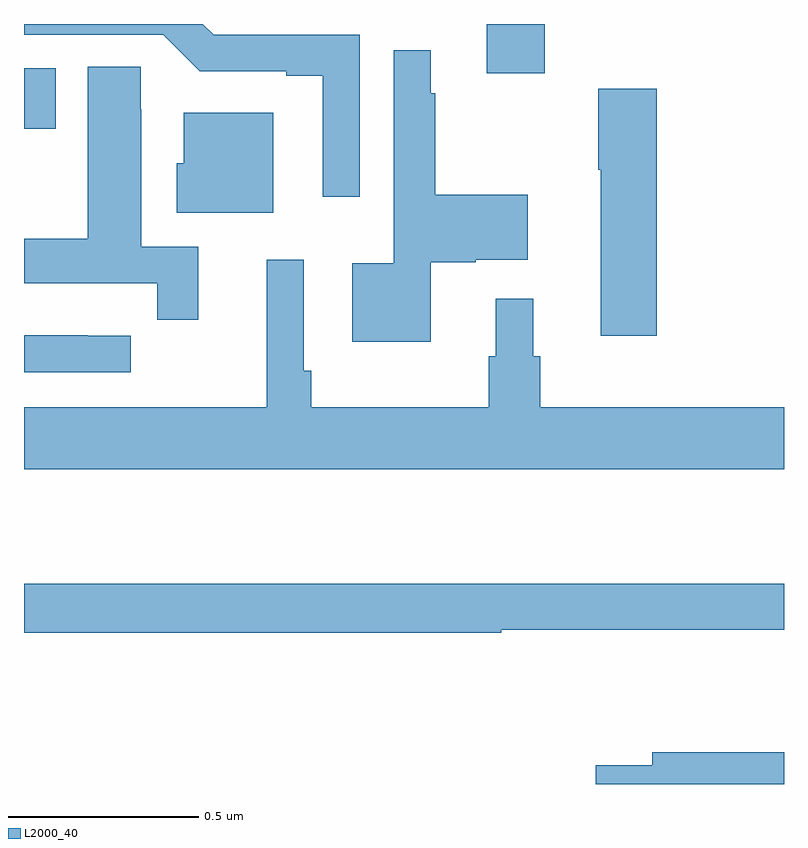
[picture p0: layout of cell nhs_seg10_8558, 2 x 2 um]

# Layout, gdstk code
import gdstk
lib = gdstk.Library(unit=1e-6, precision=1e-09)
def R(c, l, rs):  # rectangles x0, y0, x1, y1
    for r in rs: c.add(gdstk.rectangle(r[:2], r[2:], *l))
def P(c, l, *ps):  # polygons
    for p in ps: c.add(gdstk.Polygon(p, *l))
L2000_40 = (2000, 40)

nhs_seg10_8558 = lib.new_cell('nhs_seg10_8558')
R(nhs_seg10_8558, L2000_40, [(218,1289.224,218.083,1289.383), (219.218,1289.37,219.371,1289.5)])
P(nhs_seg10_8558, L2000_40, [(218.883,1289.472),(218.499,1289.472),(218.471,1289.5),(218,1289.5),(218,1289.472),(218.367,1289.472),(218.463,1289.376),(218.69,1289.376),(218.69,1289.364),(218.786,1289.364),(218.786,1289.046),(218.883,1289.046)],
  [(219.07,1288.873),(219.189,1288.873),(219.189,1288.88),(219.325,1288.88),(219.325,1289.051),(219.082,1289.051),(219.082,1289.318),(219.07,1289.318),(219.07,1289.431),(218.973,1289.431),(218.973,1288.87),(218.864,1288.87),(218.864,1288.664),(219.07,1288.664)],
  [(218.459,1288.914),(218.308,1288.914),(218.308,1289.276),(218.307,1289.276),(218.307,1289.387),(218.168,1289.387),(218.168,1288.935),(218,1288.935),(218,1288.818),(218.35,1288.818),(218.35,1288.722),(218.459,1288.722)],
  [(219.665,1289.329),(219.511,1289.329),(219.511,1289.116),(219.518,1289.116),(219.518,1288.68),(219.665,1288.68)],
  [(218.656,1289.266),(218.42,1289.266),(218.42,1289.133),(218.402,1289.133),(218.402,1289.003),(218.656,1289.003)],
  [(220,1288.492),(219.359,1288.492),(219.359,1288.626),(219.34,1288.626),(219.34,1288.777),(219.242,1288.777),(219.242,1288.626),(219.223,1288.626),(219.223,1288.492),(218.756,1288.492),(218.756,1288.588),(218.736,1288.588),(218.736,1288.879),(218.639,1288.879),(218.639,1288.492),(218,1288.492),(218,1288.328),(220,1288.328)],
  [(218.281,1288.68),(218.168,1288.68),(218.168,1288.681),(218.002,1288.681),(218.002,1288.68),(218,1288.68),(218,1288.584),(218.281,1288.584)],
  [(219.256,1287.906),(220,1287.906),(220,1288.027),(218,1288.027),(218,1287.898),(219.256,1287.898)],
  [(220,1287.583),(219.653,1287.583),(219.653,1287.549),(219.504,1287.549),(219.504,1287.5),(220,1287.5)])

lib.write_gds('nhs_seg10_8558.gds')
